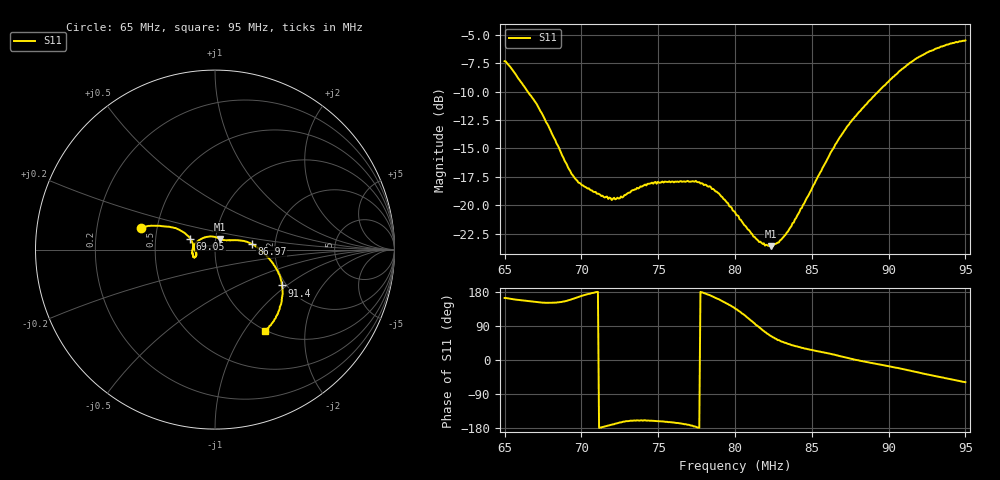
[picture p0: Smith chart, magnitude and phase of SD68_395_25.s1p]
! NanoVNA-App
! Date: 2025-08-02 16:08:34
! Start: 65MHz Stop: 95MHz Points: 401
! S-Parameter data: F S11
# Hz S RI R 50
!  Frequency  S11_Real  S11_Imag
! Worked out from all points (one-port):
!   401 points, 65 MHz to 95 MHz, reference 50 ohm
!   lowest |S11| = -23.6 dB at 82.33 MHz (marker M1), VSWR 1.14, Z = 52.6 + j6.25 ohm
!   |S11| at or under -10 dB: 66.51 MHz to 89.33 MHz (22.82 MHz wide, 29.3 % of centre)
!   S11 on the Smith chart (normalised r, x): 65 MHz: 0.40, +0.12; 69.05 MHz: 0.75, +0.09; 86.97 MHz: 1.51, +0.10; 91.4 MHz: 1.90, -0.93; 95 MHz: 0.98, -1.25
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6.5e7  -0.4138 0.1209
6.5825e7  -0.3425 0.1334
6.7025e7  -0.253 0.1274
6.875e7  -0.1482 0.0735
6.905e7  -0.1382 0.0613
6.965e7  -0.1247 0.0358
7.0175e7  -0.1195 0.0191
7.16e7  -0.1084 -0.0108
7.25e7  -0.1035 -0.0281
7.445e7  -0.1172 -0.0418
7.625e7  -0.1236 -0.0305
7.7525e7  -0.1265 -0.00488
7.8275e7  -0.1196 0.0164
7.9025e7  -0.1034 0.0408
8e7  -0.0672 0.0647
8.1425e7  -0.00159 0.0706
8.2325e7  0.0293 0.0592
8.3e7  0.0462 0.0532
8.375e7  0.065 0.0523
8.5475e7  0.1261 0.0518
8.6975e7  0.2034 0.032
8.75e7  0.2313 0.0149
8.9525e7  0.3187 -0.0727
9.125e7  0.371 -0.1886
9.14e7  0.3744 -0.2
9.2e7  0.3772 -0.2482
9.32e7  0.3565 -0.341
9.5e7  0.2772 -0.4541
